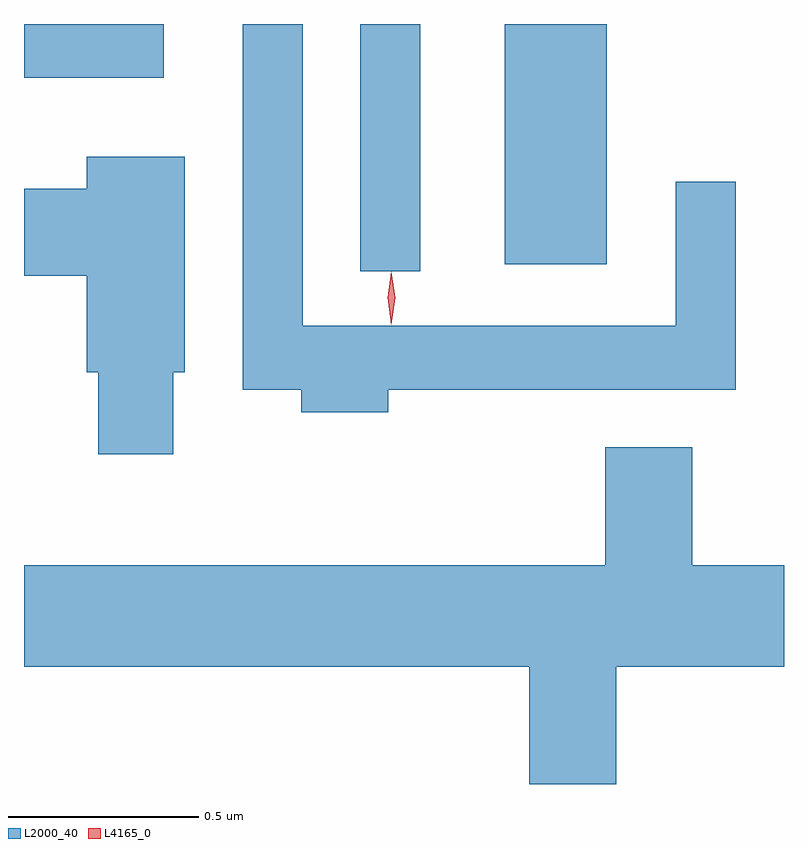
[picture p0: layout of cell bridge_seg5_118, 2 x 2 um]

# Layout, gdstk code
import gdstk
lib = gdstk.Library(unit=1e-6, precision=1e-09)
def R(c, l, rs):  # rectangles x0, y0, x1, y1
    for r in rs: c.add(gdstk.rectangle(r[:2], r[2:], *l))
def P(c, l, *ps):  # polygons
    for p in ps: c.add(gdstk.Polygon(p, *l))
L2000_40 = (2000, 40)
L4165_0 = (4165, 0)

bridge_seg5_118 = lib.new_cell('bridge_seg5_118')
R(bridge_seg5_118, L2000_40, [(1155.786,1508.898,1155.944,1509.548), (1156.166,1508.916,1156.434,1509.548), (1154.901,1509.406,1155.269,1509.548)])
P(bridge_seg5_118, L2000_40, [(1155.859,1508.586),(1156.774,1508.586),(1156.774,1509.133),(1156.616,1509.133),(1156.616,1508.754),(1155.634,1508.754),(1155.634,1509.548),(1155.476,1509.548),(1155.476,1508.586),(1155.631,1508.586),(1155.631,1508.526),(1155.859,1508.526)],
  [(1155.294,1508.631),(1155.324,1508.631),(1155.324,1509.199),(1155.066,1509.199),(1155.066,1509.114),(1154.901,1509.114),(1154.901,1508.886),(1155.066,1508.886),(1155.066,1508.631),(1155.096,1508.631),(1155.096,1508.416),(1155.294,1508.416)],
  [(1156.459,1507.856),(1156.901,1507.856),(1156.901,1508.124),(1156.659,1508.124),(1156.659,1508.434),(1156.431,1508.434),(1156.431,1508.124),(1154.901,1508.124),(1154.901,1507.856),(1156.231,1507.856),(1156.231,1507.548),(1156.459,1507.548)])
P(bridge_seg5_118, L4165_0, [(1155.867,1508.757),(1155.858,1508.827),(1155.867,1508.896),(1155.868,1508.896),(1155.868,1508.896),(1155.878,1508.827),(1155.868,1508.757),(1155.868,1508.757)])

lib.write_gds('bridge_seg5_118.gds')
